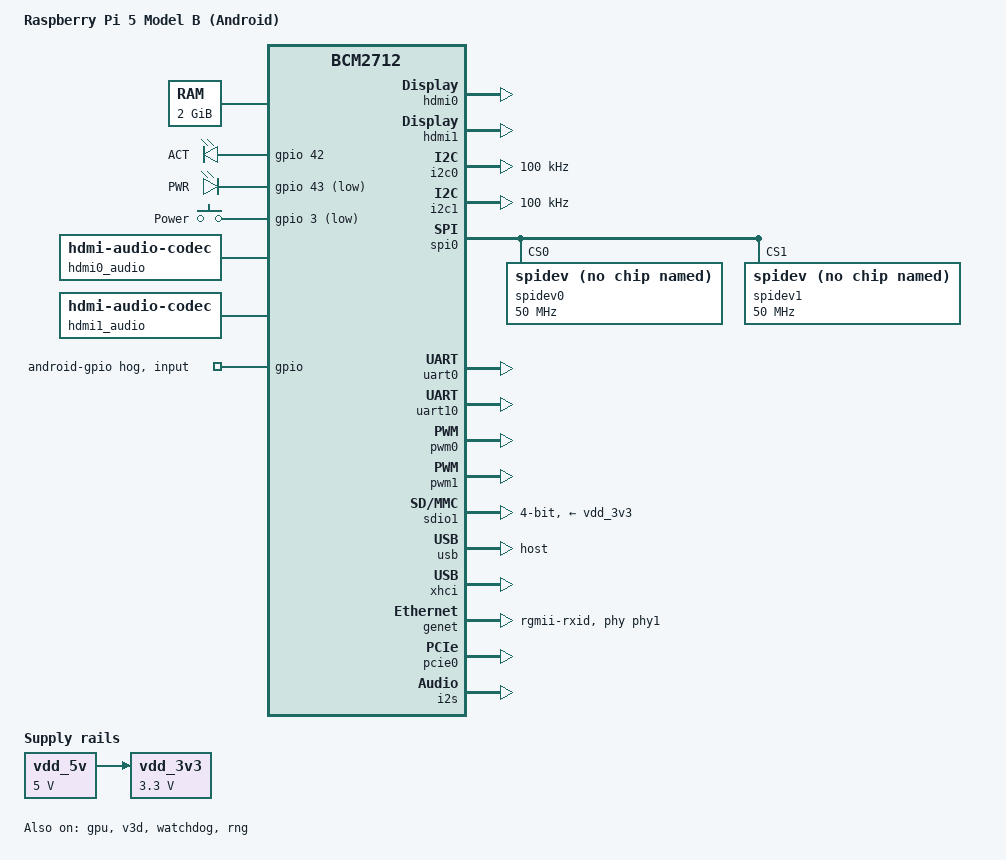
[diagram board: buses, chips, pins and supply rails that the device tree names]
// SPDX-License-Identifier: (GPL-2.0 OR MIT)
/*
 * Raspberry Pi 5 Android Device Tree
 * Copyright (C) 2024 AOSPI5 Project
 */

/dts-v1/;

#include "bcm2712.dtsi"
#include "bcm2712-rpi.dtsi"

/ {
    compatible = "raspberrypi,5-model-b", "brcm,bcm2712";
    model = "Raspberry Pi 5 Model B (Android)";

    aliases {
        serial0 = &uart10;
        serial1 = &uart0;
        serial2 = &uart2;
        serial3 = &uart3;
        serial4 = &uart4;
        i2c0 = &i2c0;
        i2c1 = &i2c1;
        i2c3 = &i2c3;
        spi0 = &spi0;
        spi3 = &spi3;
        spi5 = &spi5;
        gpio = &gpio;
        ethernet0 = &genet;
        mmc0 = &sdio1;  /* SD card */
        mmc1 = &sdio2;  /* eMMC (if present) */
    };

    chosen {
        bootargs = "coherent_pool=1M 8250.nr_uarts=1 cma=64M androidboot.hardware=rpi5 androidboot.selinux=permissive";
        stdout-path = "serial0:115200n8";
    };

    memory@0 {
        device_type = "memory";
        /* Will be updated by bootloader based on installed RAM */
        reg = <0x0 0x0 0x0 0x80000000>;  /* 2GB default */
    };

    /* Android reserved memory regions */
    reserved-memory {
        #address-cells = <2>;
        #size-cells = <2>;
        ranges;

        /* CMA region for multimedia */
        linux,cma {
            compatible = "shared-dma-pool";
            reusable;
            size = <0x0 0x10000000>;  /* 256MB */
            alignment = <0x0 0x1000>;
            linux,cma-default;
        };

        /* Reserved for GPU */
        gpu_mem: gpu@3c000000 {
            reg = <0x0 0x3c000000 0x0 0x04000000>;  /* 64MB */
            no-map;
        };

        /* Reserved for secure world */
        secure_mem: secure@38000000 {
            reg = <0x0 0x38000000 0x0 0x04000000>;  /* 64MB */
            no-map;
        };
    };

    /* Android LEDs */
    leds {
        compatible = "gpio-leds";
        pinctrl-names = "default";

        led-act {
            label = "ACT";
            gpios = <&gpio 42 GPIO_ACTIVE_HIGH>;
            linux,default-trigger = "mmc0";
        };

        led-pwr {
            label = "PWR";
            gpios = <&gpio 43 GPIO_ACTIVE_LOW>;
            default-state = "on";
        };
    };

    /* Power supply for Android */
    vdd_5v: vdd-5v {
        compatible = "regulator-fixed";
        regulator-name = "5V_SUPPLY";
        regulator-min-microvolt = <5000000>;
        regulator-max-microvolt = <5000000>;
        regulator-always-on;
    };

    vdd_3v3: vdd-3v3 {
        compatible = "regulator-fixed";
        regulator-name = "3V3_SUPPLY";
        regulator-min-microvolt = <3300000>;
        regulator-max-microvolt = <3300000>;
        regulator-always-on;
        vin-supply = <&vdd_5v>;
    };

    /* Android virtual keys for GPIO buttons */
    gpio_keys: gpio-keys {
        compatible = "gpio-keys";
        
        /* Power button (optional external) */
        button-power {
            label = "Power";
            linux,code = <KEY_POWER>;
            gpios = <&gpio 3 GPIO_ACTIVE_LOW>;
            wakeup-source;
        };
    };

    /* HDMI audio */
    hdmi0_audio: hdmi0-audio {
        compatible = "hdmi-audio-codec";
        hdmi-phandle = <&hdmi0>;
        status = "okay";
    };

    hdmi1_audio: hdmi1-audio {
        compatible = "hdmi-audio-codec";
        hdmi-phandle = <&hdmi1>;
        status = "okay";
    };

    /* Sound card for Android */
    sound {
        compatible = "simple-audio-card";
        simple-audio-card,name = "Pi5-Audio";

        simple-audio-card,dai-link@0 {
            format = "i2s";
            cpu {
                sound-dai = <&i2s>;
            };
            codec {
                sound-dai = <&hdmi0_audio>;
            };
        };
    };
};

/* CPU configuration for Android */
&cpu0 {
    cpu-supply = <&vdd_cpu>;
    operating-points-v2 = <&cpu_opp_table>;
};

&cpu1 {
    cpu-supply = <&vdd_cpu>;
    operating-points-v2 = <&cpu_opp_table>;
};

&cpu2 {
    cpu-supply = <&vdd_cpu>;
    operating-points-v2 = <&cpu_opp_table>;
};

&cpu3 {
    cpu-supply = <&vdd_cpu>;
    operating-points-v2 = <&cpu_opp_table>;
};

/* CPU frequency table */
cpu_opp_table: opp-table {
    compatible = "operating-points-v2";
    opp-shared;

    opp-600000000 {
        opp-hz = /bits/ 64 <600000000>;
        opp-microvolt = <800000>;
        clock-latency-ns = <200000>;
    };

    opp-900000000 {
        opp-hz = /bits/ 64 <900000000>;
        opp-microvolt = <850000>;
        clock-latency-ns = <200000>;
    };

    opp-1200000000 {
        opp-hz = /bits/ 64 <1200000000>;
        opp-microvolt = <900000>;
        clock-latency-ns = <200000>;
    };

    opp-1500000000 {
        opp-hz = /bits/ 64 <1500000000>;
        opp-microvolt = <950000>;
        clock-latency-ns = <200000>;
    };

    opp-1800000000 {
        opp-hz = /bits/ 64 <1800000000>;
        opp-microvolt = <1000000>;
        clock-latency-ns = <200000>;
    };

    opp-2000000000 {
        opp-hz = /bits/ 64 <2000000000>;
        opp-microvolt = <1050000>;
        clock-latency-ns = <200000>;
    };

    opp-2400000000 {
        opp-hz = /bits/ 64 <2400000000>;
        opp-microvolt = <1100000>;
        clock-latency-ns = <200000>;
        turbo-mode;
    };
};

/* GPU configuration */
&gpu {
    status = "okay";
};

&v3d {
    status = "okay";
};

/* Display outputs */
&hdmi0 {
    status = "okay";
};

&hdmi1 {
    status = "okay";
};

/* DSI display */
&dsi0 {
    status = "disabled";  /* Enable when DSI display is connected */
};

&dsi1 {
    status = "disabled";
};

/* Camera interfaces */
&csi0 {
    status = "disabled";  /* Enable when camera is connected */
};

&csi1 {
    status = "disabled";
};

/* GPIO for Android */
&gpio {
    status = "okay";

    /* Android GPIO configuration */
    android-gpio {
        gpio-hog;
        /* Reserve pins for Android GPIO HAL */
        /* User-accessible GPIOs on 40-pin header */
    };
};

/* I2C buses */
&i2c0 {
    status = "okay";
    pinctrl-names = "default";
    clock-frequency = <100000>;
};

&i2c1 {
    status = "okay";
    pinctrl-names = "default";
    clock-frequency = <100000>;
};

/* SPI buses */
&spi0 {
    status = "okay";
    pinctrl-names = "default";

    spidev0: spidev@0 {
        compatible = "rohm,dh2228fv";
        reg = <0>;
        spi-max-frequency = <50000000>;
    };

    spidev1: spidev@1 {
        compatible = "rohm,dh2228fv";
        reg = <1>;
        spi-max-frequency = <50000000>;
    };
};

/* UART */
&uart0 {
    status = "okay";
    pinctrl-names = "default";
};

&uart10 {
    status = "okay";
};

/* PWM */
&pwm0 {
    status = "okay";
    pinctrl-names = "default";
};

&pwm1 {
    status = "okay";
    pinctrl-names = "default";
};

/* SD card */
&sdio1 {
    status = "okay";
    bus-width = <4>;
    max-frequency = <100000000>;
    cap-sd-highspeed;
    sd-uhs-sdr50;
    sd-uhs-sdr104;
    vmmc-supply = <&vdd_3v3>;
    vqmmc-supply = <&vdd_3v3>;
};

/* USB */
&usb {
    status = "okay";
    dr_mode = "host";
};

&xhci {
    status = "okay";
};

/* Ethernet */
&genet {
    status = "okay";
    phy-handle = <&phy1>;
    phy-mode = "rgmii-rxid";
};

/* PCIe for NVMe */
&pcie0 {
    status = "okay";
    
    pcie@0,0 {
        /* NVMe support */
        #address-cells = <3>;
        #size-cells = <2>;
    };
};

/* Thermal */
&thermal {
    status = "okay";
};

/* Watchdog */
&watchdog {
    status = "okay";
    timeout-sec = <15>;
};

/* I2S audio */
&i2s {
    status = "okay";
};

/* RNG for Android security */
&rng {
    status = "okay";
};
